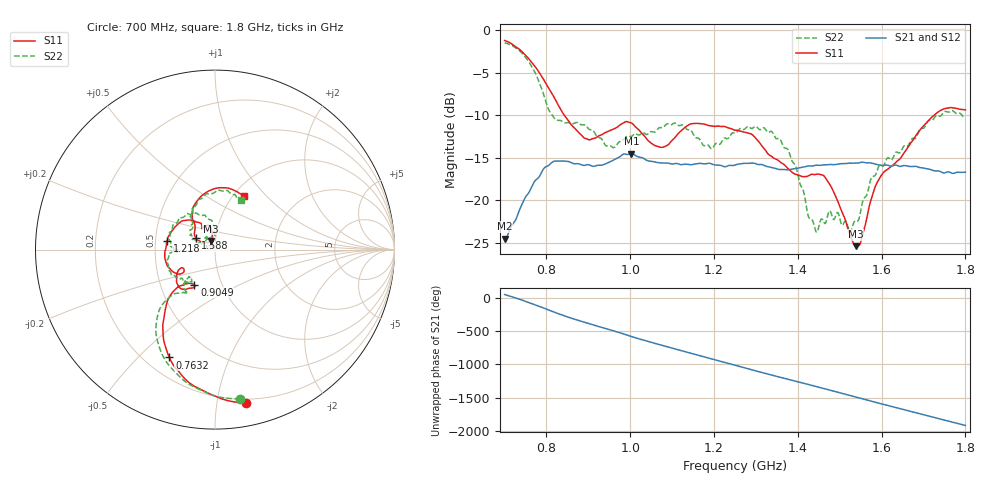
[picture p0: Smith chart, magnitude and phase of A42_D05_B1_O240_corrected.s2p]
! Created with skrf 1.9.0 (http://scikit-rf.org).
# Hz S RI R 50.0
!freq ReS11 ImS11 ReS21 ImS21 ReS12 ImS12 ReS22 ImS22
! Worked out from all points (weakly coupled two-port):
!   1601 points, 700 MHz to 1.8 GHz, reference 50 ohm
!   highest |S21| = -14.53 dB at 1.002 GHz (marker M1); lowest = -24.5 dB at 700 MHz (marker M2)
!   lowest |S11| = -25.4 dB at 1.538 GHz (marker M3), VSWR 1.11, Z = 47.5 + j4.6 ohm
!   |S11| at or under -10 dB: 842.3 MHz to 1.725 GHz (883.1 MHz wide, 68.8 % of centre)
!   |S22| runs from -23.8 to -1.5 dB; largest |S21 - S12| = 0.0035
!   S11 on the Smith chart (normalised r, x): 700 MHz: 0.17, -1.21; 763.2 MHz: 0.30, -0.62; 904.9 MHz: 0.74, -0.31; 1.218 GHz: 0.58, +0.06; 1.588 GHz: 0.80, +0.10; 1.8 GHz: 1.12, +0.76
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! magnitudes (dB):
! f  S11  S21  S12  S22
! 700 MHz  -1.2  -24.5  -24.3  -1.5
! 763.2 MHz  -3.7  -18.6  -18.6  -4.2
! 818.2 MHz  -7.9  -15.4  -15.5  -10.3
! 883.6 MHz  -12.4  -15.9  -15.7  -11.1
! 904.9 MHz  -12.9  -15.9  -15.9  -11.7
! 958.5 MHz  -11.7  -15.3  -15.3  -13.8
! 1.002 GHz  -10.9  -14.5  -14.6  -12.5
! 1.067 GHz  -13.7  -15.6  -15.6  -11.5
! 1.145 GHz  -11.0  -15.8  -15.8  -11.8
! 1.218 GHz  -11.3  -15.9  -16.0  -13.2
! 1.25 GHz  -11.8  -15.9  -15.8  -12.1
! 1.357 GHz  -15.5  -16.4  -16.3  -12.8
! 1.394 GHz  -17.0  -16.3  -16.3  -15.9
! 1.434 GHz  -17.0  -16.0  -15.9  -22.3
! 1.445 GHz  -16.9  -15.9  -15.9  -23.8
! 1.476 GHz  -18.1  -15.8  -15.8  -21.3
! 1.524 GHz  -24.1  -15.6  -15.6  -23.8
! 1.538 GHz  -25.4  -15.6  -15.6  -22.4
! 1.588 GHz  -18.1  -15.8  -15.8  -16.8
! 1.617 GHz  -16.3  -15.9  -15.9  -15.0
! 1.732 GHz  -9.7  -16.6  -16.6  -10.1
! 1.8 GHz  -9.4  -16.7  -16.7  -10.2
